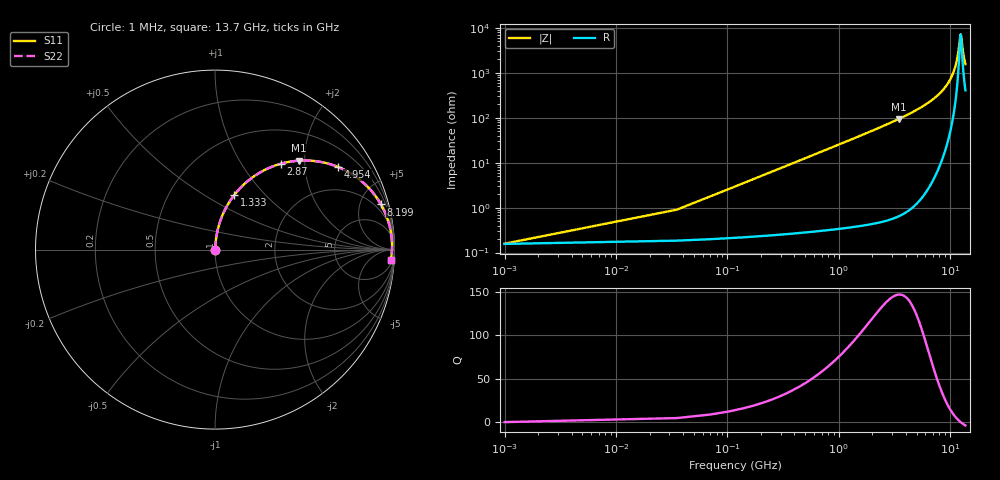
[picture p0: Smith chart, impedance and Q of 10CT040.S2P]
! Coilcraft 1008CT-040 Chip Inductor
! 17 July 2002
# MHZ S MA R 50
!Freq  MagS11  AngS11  MagS21  AngS21  MagS12  AngS12  MagS22  AngS22
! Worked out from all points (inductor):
!   403 points, 1 MHz to 13.7 GHz, reference 50 ohm
!   read as one part in series: L = 4 nH near 69.32 MHz
!   highest Q = 147 at 3.451 GHz (marker M1), where L = 4.33 nH
!   self-resonance near 12.44 GHz
!   S11 on the Smith chart (normalised r, x): 1 MHz: 1.00, +0.00; 1.333 GHz: 1.01, +0.68; 2.87 GHz: 1.01, +1.52; 4.954 GHz: 1.02, +2.96; 8.199 GHz: 1.19, +7.29; 13.7 GHz: 9, -30
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1  0.001576 9.1  0.9984 -0.0  0.9984 -0.0  0.001576 9.1
103.48  0.02603 83.9  0.9976 -1.5  0.9976 -1.5  0.02603 83.9
137.64  0.03457 84.4  0.9972 -2.0  0.9972 -2.0  0.03457 84.4
205.96  0.05164 84.5  0.9963 -3.0  0.9963 -3.0  0.05164 84.5
308.44  0.07718 83.7  0.9945 -4.4  0.9945 -4.4  0.07718 83.7
684.2  0.1695 79.2  0.9826 -9.8  0.9826 -9.8  0.1695 79.2
1333.24  0.32 70.7  0.9439 -18.7  0.9439 -18.7  0.32 70.7
2289.72  0.51 58.9  0.8562 -30.7  0.8562 -30.7  0.51 58.9
2870.44  0.6041 52.4  0.7927 -37.2  0.7927 -37.2  0.6041 52.4
3451.16  0.6825 46.6  0.7262 -43.0  0.7262 -43.0  0.6825 46.6
4578.44  0.7967 36.8  0.5984 -52.8  0.5984 -52.8  0.7967 36.8
4954.2  0.8256 33.9  0.5577 -55.6  0.5577 -55.6  0.8256 33.9
6867.16  0.9229 21.8  0.3716 -67.3  0.3716 -67.3  0.9229 21.8
8199.4  0.958 15.2  0.2628 -73.3  0.2628 -73.3  0.958 15.2
9155.88  0.973 11.2  0.1937 -76.4  0.1937 -76.4  0.973 11.2
10522.28  0.9842 6.1  0.1062 -78.4  0.1062 -78.4  0.9842 6.1
11444.6  0.9867 3.0  0.05389 -74.3  0.05389 -74.3  0.9867 3.0
11854.52  0.9869 1.7  0.03286 -65.6  0.03286 -65.6  0.9869 1.7
12298.6  0.9865 0.4  0.01528 -27.4  0.01528 -27.4  0.9865 0.4
12435.24  0.9862 0.0  0.01379 -0.7  0.01379 -0.7  0.9862 0.0
13152.6  0.9841 -2.0  0.03826 64.5  0.03826 64.5  0.9841 -2.0
13700  0.9817 -3.5  0.06281 71.4  0.06281 71.4  0.9817 -3.5
